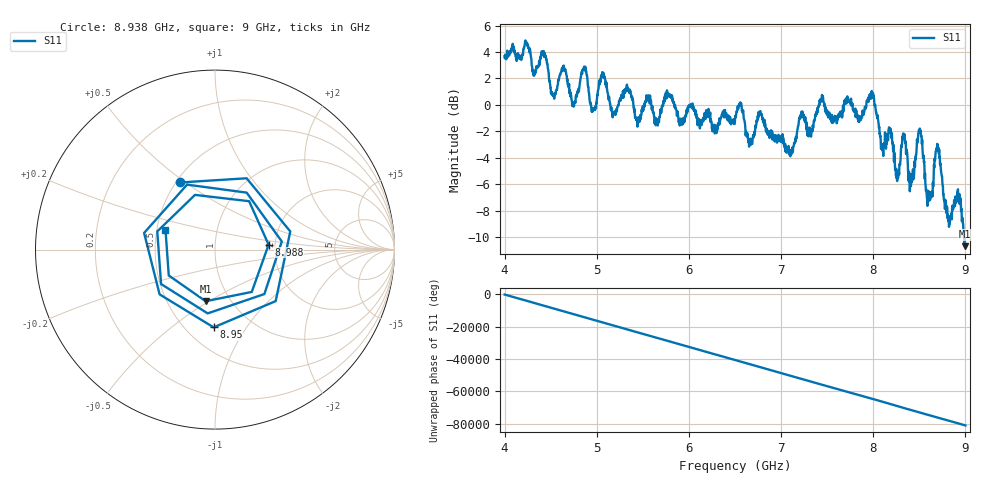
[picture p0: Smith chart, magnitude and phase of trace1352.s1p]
! Created with skrf 1.8.0 (http://scikit-rf.org).
# Hz S RI R 50.0
!freq ReS11 ImS11
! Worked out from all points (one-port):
!   1601 points, 4 GHz to 9 GHz, reference 50 ohm
!   lowest |S11| = -10.7 dB at 8.994 GHz (marker M1), VSWR 1.83, Z = 38.4 - j24.2 ohm
!   |S11| at or under -10 dB: 8.98579 GHz to end of sweep
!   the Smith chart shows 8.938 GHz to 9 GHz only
!   S11 on the Smith chart (normalised r, x): 8.938 GHz: 0.52, +0.48; 8.95 GHz: 0.68, -0.72; 8.988 GHz: 1.85, +0.11; 9 GHz: 0.56, +0.14
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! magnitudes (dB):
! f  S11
! 4 GHz  3.7
! 4.422 GHz  4.0
! 4.528 GHz  0.7
! 4.625 GHz  2.8
! 4.747 GHz  -0.1
! 4.859 GHz  2.7
! 4.959 GHz  -0.3
! 5.062 GHz  2.2
! 5.25 GHz  0.3
! 5.875 GHz  -0.7
! 6.5 GHz  -1.2
! 7.125 GHz  -3.2
! 7.222 GHz  -0.8
! 7.75 GHz  0.3
! 7.988 GHz  0.6
! 8.1 GHz  -3.2
! 8.328 GHz  -2.4
! 8.375 GHz  -4.4
! 8.422 GHz  -5.8
! 8.506 GHz  -1.8
! 8.594 GHz  -7.0
! 8.697 GHz  -3.1
! 8.812 GHz  -8.4
! 8.938 GHz  -7.5
! 8.95 GHz  -7.3
! 8.988 GHz  -10.5
! 8.994 GHz  -10.7
! 9 GHz  -10.5
